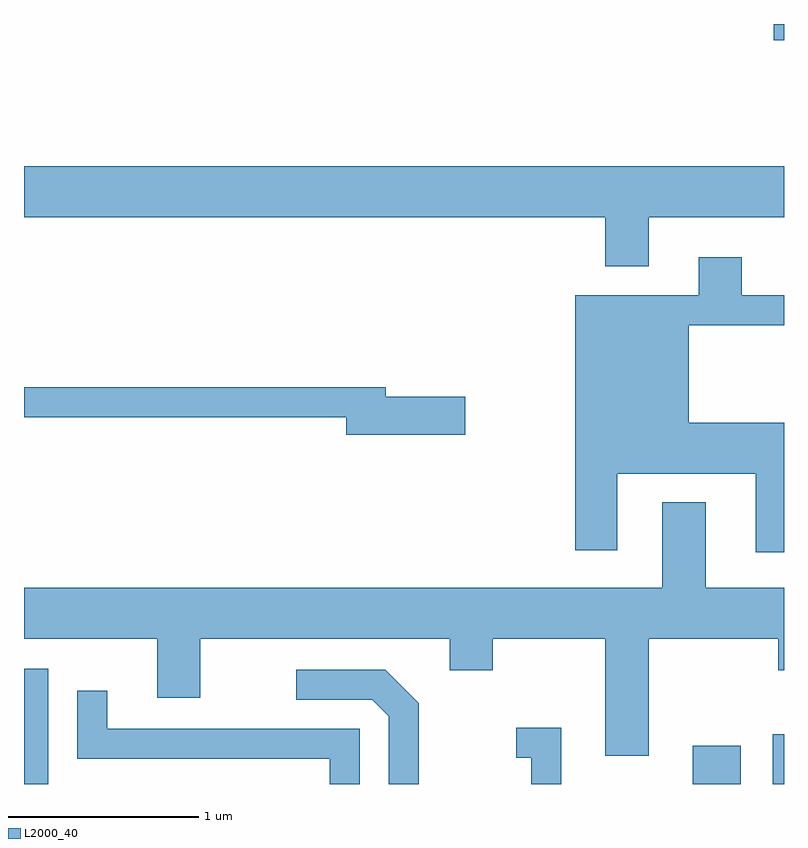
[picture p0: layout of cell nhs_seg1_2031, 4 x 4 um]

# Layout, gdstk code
import gdstk
lib = gdstk.Library(unit=1e-6, precision=1e-09)
def R(c, l, rs):  # rectangles x0, y0, x1, y1
    for r in rs: c.add(gdstk.rectangle(r[:2], r[2:], *l))
def P(c, l, *ps):  # polygons
    for p in ps: c.add(gdstk.Polygon(p, *l))
L2000_40 = (2000, 40)

nhs_seg1_2031 = lib.new_cell('nhs_seg1_2031')
R(nhs_seg1_2031, L2000_40, [(247.611,887.712,247.739,888.319), (251.131,887.712,251.384,887.914), (251.551,887.712,251.611,887.974), (251.556,891.626,251.611,891.712)])
P(nhs_seg1_2031, L2000_40, [(250.899,890.696),(251.611,890.696),(251.611,890.964),(247.611,890.964),(247.611,890.696),(250.671,890.696),(250.671,890.436),(250.899,890.436)],
  [(251.611,889.614),(251.109,889.614),(251.109,890.126),(251.611,890.126),(251.611,890.284),(251.389,890.284),(251.389,890.484),(251.161,890.484),(251.161,890.284),(250.511,890.284),(250.511,888.941),(250.734,888.941),(250.734,889.346),(251.461,889.346),(251.461,888.933),(251.611,888.933)],
  [(249.934,889.749),(249.514,889.749),(249.514,889.799),(247.611,889.799),(247.611,889.641),(249.306,889.641),(249.306,889.551),(249.934,889.551)],
  [(250.899,888.476),(251.581,888.476),(251.581,888.311),(251.611,888.311),(251.611,888.744),(251.199,888.744),(251.199,889.194),(250.971,889.194),(250.971,888.744),(247.611,888.744),(247.611,888.476),(248.311,888.476),(248.311,888.166),(248.539,888.166),(248.539,888.476),(249.851,888.476),(249.851,888.311),(250.079,888.311),(250.079,888.476),(250.671,888.476),(250.671,887.861),(250.899,887.861)],
  [(249.689,888.137),(249.512,888.314),(249.043,888.314),(249.043,888.156),(249.444,888.156),(249.531,888.069),(249.531,887.712),(249.689,887.712)],
  [(249.379,888.004),(248.049,888.004),(248.049,888.203),(247.891,888.203),(247.891,887.846),(249.221,887.846),(249.221,887.712),(249.379,887.712)],
  [(250.439,888.009),(250.203,888.009),(250.203,887.851),(250.281,887.851),(250.281,887.712),(250.439,887.712)])

lib.write_gds('nhs_seg1_2031.gds')
